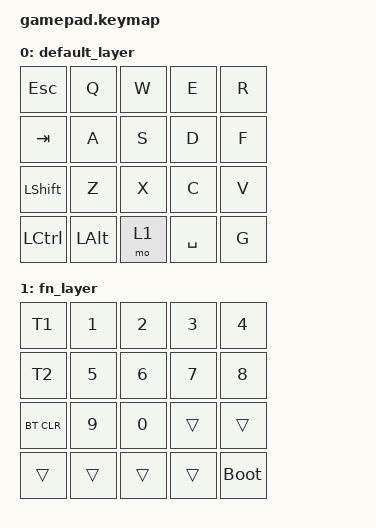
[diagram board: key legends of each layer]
#include <behaviors.dtsi>
#include <dt-bindings/zmk/keys.h>
#include <dt-bindings/zmk/bt.h>

/ {
    /* 1. TELL ZMK WHICH KSCAN AND TRANSFORM TO USE */
    chosen {
        zmk,kscan = &kscan0;
        zmk,matrix_transform = &default_transform;
    };

    /* 2. DEFINE THE MATRIX TRANSFORM (GRID LAYOUT) */
    default_transform: keymap_transform_0 {
        compatible = "zmk,matrix-transform";
        columns = <5>;
        rows = <4>;
        map = <
            RC(0,0) RC(0,1) RC(0,2) RC(0,3) RC(0,4)
            RC(1,0) RC(1,1) RC(1,2) RC(1,3) RC(1,4)
            RC(2,0) RC(2,1) RC(2,2) RC(2,3) RC(2,4)
            RC(3,0) RC(3,1) RC(3,2) RC(3,3) RC(3,4)
        >;
    };

    /* 3. HARDWARE PIN MATRIX (FROM YOUR SCHEMATIC) */
    kscan0: kscan {
        compatible = "zmk,kscan-gpio-matrix";
        diode-direction = "col2row";

        row-gpios
            = <&xiao_d 10 (GPIO_ACTIVE_HIGH | GPIO_PULL_DOWN)>
            = <&xiao_d 9  (GPIO_ACTIVE_HIGH | GPIO_PULL_DOWN)>
            = <&xiao_d 8  (GPIO_ACTIVE_HIGH | GPIO_PULL_DOWN)>
            = <&xiao_d 7  (GPIO_ACTIVE_HIGH | GPIO_PULL_DOWN)>
            ;

        col-gpios
            = <&xiao_d 1 GPIO_ACTIVE_HIGH>
            = <&xiao_d 2 GPIO_ACTIVE_HIGH>
            = <&xiao_d 3 GPIO_ACTIVE_HIGH>
            = <&xiao_d 4 GPIO_ACTIVE_HIGH>
            = <&xiao_d 5 GPIO_ACTIVE_HIGH>
            ;
    };

    /* 4. KEY BINDINGS */
    keymap {
        compatible = "zmk,keymap";

        default_layer {
            bindings = <
                &kp ESC    &kp Q     &kp W     &kp E     &kp R
                &kp TAB    &kp A     &kp S     &kp D     &kp F
                &kp LSHIFT &kp Z     &kp X     &kp C     &kp V
                &kp LCTRL  &kp LALT  &mo 1     &kp SPACE &kp G
            >;
        };

        fn_layer {
            bindings = <
                &kp T1     &kp N1    &kp N2    &kp N3    &kp N4
                &kp T2     &kp N5    &kp N6    &kp N7    &kp N8
                &bt BT_CLR &kp N9    &kp N0    &trans    &trans
                &trans     &trans    &trans    &trans    &bootloader
            >;
        };
    };
};
